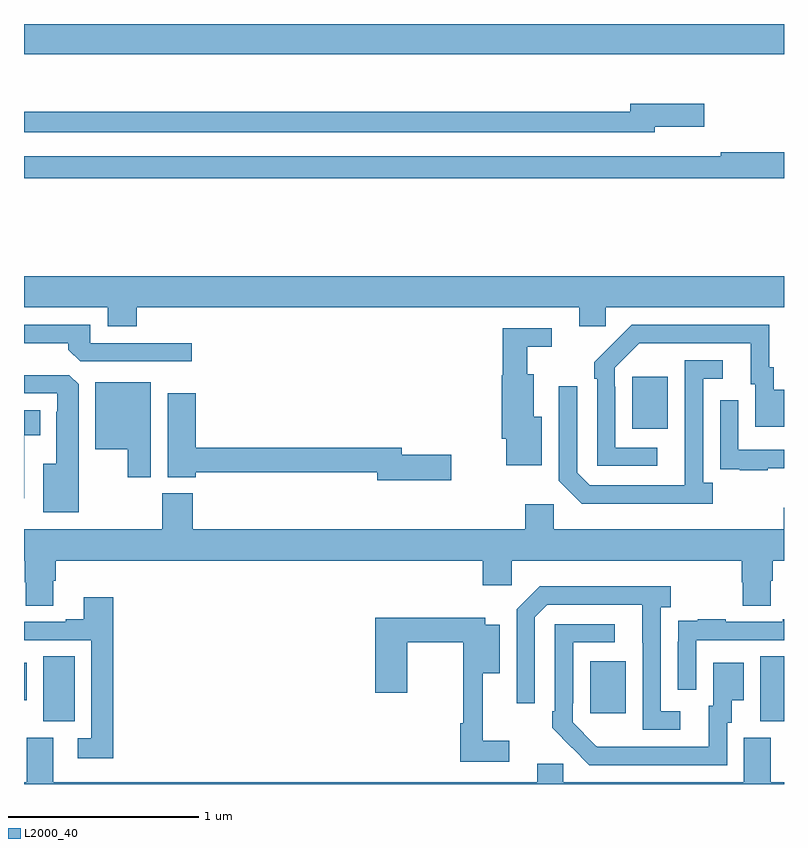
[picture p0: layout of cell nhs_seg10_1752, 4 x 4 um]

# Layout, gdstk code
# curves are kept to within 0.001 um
import gdstk
lib = gdstk.Library(unit=1e-6, precision=1e-09)
def R(c, l, rs):  # rectangles x0, y0, x1, y1
    for r in rs: c.add(gdstk.rectangle(r[:2], r[2:], *l))
def P(c, l, *ps):  # polygons
    for p in ps: c.add(gdstk.Polygon(p, *l))
L2000_40 = (2000, 40)

nhs_seg10_1752 = lib.new_cell('nhs_seg10_1752')
R(nhs_seg10_1752, L2000_40, [(203.102,1272.829,203.266,1273.172), (206.876,1272.829,207,1273.172), (205.979,1272.873,206.167,1273.147), (203,1272.941,203.014,1273.138), (206.201,1274.369,206.389,1274.644), (203,1276.34,207,1276.5)])
P(nhs_seg10_1752, L2000_40, [(206.32,1275.959),(206.581,1275.959),(206.581,1276.081),(206.192,1276.081),(206.192,1276.039),(203,1276.039),(203,1275.93),(206.32,1275.93)],
  [(207,1275.824),(206.668,1275.824),(206.668,1275.805),(206.416,1275.805),(206.416,1275.804),(203,1275.804),(203,1275.688),(207,1275.688)],
  [(203,1275.008),(203.441,1275.008),(203.441,1274.909),(203.594,1274.909),(203.594,1275.008),(205.922,1275.008),(205.922,1274.91),(206.061,1274.91),(206.061,1275.008),(207,1275.008),(207,1275.172),(203,1275.172)],
  [(203.884,1274.82),(203.349,1274.82),(203.349,1274.916),(203,1274.916),(203,1274.82),(203.234,1274.82),(203.234,1274.786),(203.295,1274.724),(203.884,1274.724)],
  [(206.332,1274.271),(206.112,1274.271),(206.112,1274.591),(206.109,1274.591),(206.109,1274.691),(206.238,1274.82),(206.825,1274.82),(206.825,1274.604),(206.849,1274.604),(206.849,1274.379),(207,1274.379),(207,1274.575),(206.947,1274.575),(206.947,1274.694),(206.922,1274.694),(206.922,1274.916),(206.198,1274.916),(206.001,1274.721),(206.001,1274.633),(206.016,1274.633),(206.016,1274.175),(206.332,1274.175)],
  [(205.726,1274.434),(205.684,1274.434),(205.684,1274.656),(205.648,1274.656),(205.648,1274.801),(205.777,1274.801),(205.777,1274.898),(205.519,1274.898),(205.519,1274.652),(205.514,1274.652),(205.514,1274.316),(205.538,1274.316),(205.538,1274.177),(205.726,1274.177)],
  [(206.626,1274.086),(206.574,1274.086),(206.574,1274.634),(206.677,1274.634),(206.677,1274.73),(206.478,1274.73),(206.477,1274.073),(205.977,1274.073),(205.911,1274.139),(205.911,1274.593),(205.815,1274.593),(205.815,1274.097),(205.936,1273.976),(206.626,1273.976)],
  [(203.287,1274.603),(203.238,1274.652),(203,1274.652),(203,1274.556),(203.175,1274.556),(203.175,1274.459),(203.171,1274.459),(203.171,1274.185),(203.102,1274.185),(203.102,1273.931),(203.287,1273.931)],
  [(203.668,1274.614),(203.375,1274.614),(203.375,1274.261),(203.546,1274.261),(203.546,1274.115),(203.668,1274.115)],
  [(205.249,1274.234),(204.988,1274.234),(204.988,1274.27),(203.903,1274.27),(203.903,1274.557),(203.756,1274.557),(203.756,1274.114),(203.903,1274.114),(203.903,1274.142),(204.86,1274.142),(204.86,1274.099),(205.249,1274.099)],
  [(206.915,1274.163),(207,1274.163),(207,1274.259),(206.76,1274.259),(206.76,1274.521),(206.664,1274.521),(206.664,1274.266),(206.665,1274.266),(206.665,1274.157),(206.767,1274.157),(206.767,1274.151),(206.915,1274.151)],
  [(203.002,1274.336),(203.086,1274.336),(203.086,1274.467),(203,1274.467),(203,1274.004),(203.002,1274.004)],
  [(203.155,1273.57),(203.168,1273.57),(203.168,1273.676),(205.415,1273.676),(205.415,1273.545),(205.566,1273.545),(205.566,1273.676),(206.777,1273.676),(206.777,1273.563),(206.782,1273.563),(206.782,1273.438),(206.929,1273.438),(206.929,1273.57),(206.942,1273.57),(206.942,1273.676),(207,1273.676),(207,1273.953),(206.999,1273.953),(206.999,1273.84),(205.788,1273.84),(205.788,1273.972),(205.637,1273.972),(205.637,1273.84),(203.888,1273.84),(203.888,1274.029),(203.728,1274.029),(203.728,1273.84),(203,1273.84),(203,1273.676),(203.003,1273.676),(203.003,1273.563),(203.008,1273.563),(203.008,1273.438),(203.155,1273.438)],
  [(206.455,1272.882),(206.352,1272.882),(206.352,1273.43),(206.404,1273.43),(206.404,1273.54),(205.714,1273.54),(205.593,1273.419),(205.593,1272.924),(205.689,1272.924),(205.689,1273.377),(205.755,1273.443),(206.255,1273.443),(206.256,1272.786),(206.455,1272.786)],
  [(203.471,1273.483),(203.315,1273.483),(203.315,1273.366),(203.219,1273.366),(203.219,1273.353),(203,1273.353),(203,1273.257),(203.355,1273.257),(203.355,1272.741),(203.283,1272.741),(203.283,1272.636),(203.471,1272.636)],
  [(205.555,1272.727),(205.415,1272.727),(205.415,1273.082),(205.504,1273.082),(205.504,1273.339),(205.428,1273.339),(205.428,1273.375),(204.848,1273.375),(204.848,1272.981),(205.018,1272.981),(205.018,1273.246),(205.312,1273.246),(205.312,1272.821),(205.297,1272.821),(205.297,1272.618),(205.555,1272.618)],
  [(206.538,1273.257),(207,1273.257),(207,1273.366),(206.993,1273.366),(206.993,1273.353),(206.693,1273.353),(206.693,1273.366),(206.545,1273.366),(206.545,1273.359),(206.443,1273.359),(206.443,1273.25),(206.442,1273.25),(206.442,1272.996),(206.538,1272.996)],
  [(206.7,1272.822),(206.725,1272.822),(206.725,1272.941),(206.788,1272.941),(206.788,1273.138),(206.627,1273.138),(206.627,1272.912),(206.603,1272.912),(206.603,1272.696),(206.016,1272.697),(205.887,1272.825),(205.887,1272.925),(205.89,1272.925),(205.89,1273.245),(206.11,1273.245),(206.11,1273.341),(205.794,1273.341),(205.794,1272.883),(205.779,1272.883),(205.779,1272.795),(205.976,1272.6),(206.7,1272.6)],
  [(207,1272.508),(206.929,1272.508),(206.929,1272.744),(206.789,1272.744),(206.789,1272.508),(205.839,1272.508),(205.839,1272.606),(205.7,1272.606),(205.7,1272.508),(203.155,1272.508),(203.155,1272.744),(203.015,1272.744),(203.015,1272.508),(203,1272.508),(203,1272.5),(207,1272.5)])

lib.write_gds('nhs_seg10_1752.gds')
